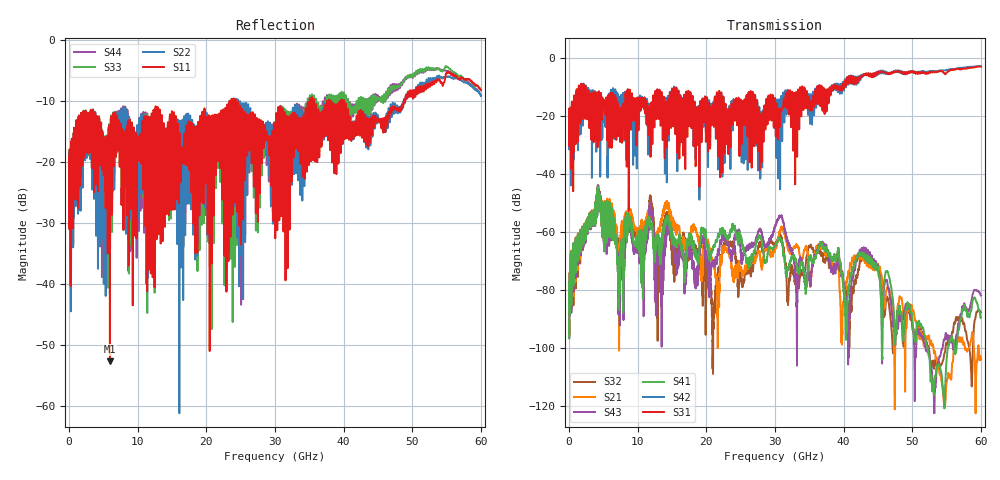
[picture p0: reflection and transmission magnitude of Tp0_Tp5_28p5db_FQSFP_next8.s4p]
!4 port subset of full cascaded channels using these ports:49 37 50 38
# Hz S RI R 50
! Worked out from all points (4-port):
!   6000 points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, 10 MHz to 60 GHz, reference 50 ohm
!   strongest paths, dB at 10 MHz, 15.01 GHz, 30.01 GHz, 45.01 GHz, 60 GHz:
!     S31: -20.0, -10.5, -14.3, -4.7, -2.8
!     S42: -20.0, -10.7, -13.8, -5.2, -2.7
!     S41: -91.0, -62.4, -65.0, -72.7, -89.5
!     S43: -91.1, -62.8, -58.1, -72.1, -81.9
!     S21: -90.5, -57.8, -65.4, -71.4, -104.1
!     S32: -90.6, -63.3, -64.2, -71.2, -87.7
!   lowest |S11| = -52.7 dB at 5.95 GHz (marker M1), VSWR 1.00, Z = 49.9 + j0.181 ohm
!   |S11| at or under -10 dB: start of sweep to 23.37 GHz; 24.32 GHz to 35.05 GHz (10.73 GHz wide, 36.2 % of centre); 40.03 GHz to 48.76 GHz (8.722 GHz wide, 19.6 % of centre)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
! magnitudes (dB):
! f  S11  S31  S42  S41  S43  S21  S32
! 10 MHz  -21.9  -20.0  -20.0  -91.0  -91.1  -90.5  -90.6
! 5.95 GHz  -52.7  -17.6  -24.5  -53.8  -55.6  -52.8  -54.5
! 7.31 GHz  -14.7  -21.4  -14.8  -71.7  -76.6  -70.6  -72.2
! 21 GHz  -15.5  -16.1  -16.0  -65.3  -70.4  -70.7  -92.6
! 30.8 GHz  -10.8  -17.9  -19.7  -62.7  -54.8  -59.6  -61.6
! 33.16 GHz  -13.4  -14.7  -19.0  -70.8  -85.3  -64.4  -76.7
! 60 GHz  -8.2  -2.8  -2.7  -89.5  -81.9  -104.1  -87.7
